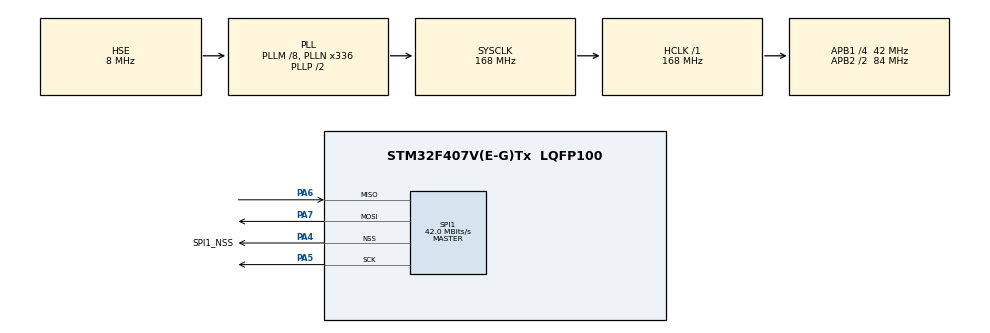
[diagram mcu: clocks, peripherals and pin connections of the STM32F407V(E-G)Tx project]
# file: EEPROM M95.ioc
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Mcu.Family=STM32F4
Mcu.Name=STM32F407V(E-G)Tx
Mcu.Package=LQFP100
NVIC.PriorityGroup=NVIC_PRIORITYGROUP_0
PA4.GPIO_Label=SPI1_NSS
PA4.Mode=NSS_Signal_Hard_Output
PA4.Signal=SPI1_NSS
PA5.Mode=Full_Duplex_Master
PA5.Signal=SPI1_SCK
PA6.Mode=Full_Duplex_Master
PA6.Signal=SPI1_MISO
PA7.Mode=Full_Duplex_Master
PA7.Signal=SPI1_MOSI
PH0-OSC_IN.Mode=HSE-External-Oscillator
PH0-OSC_IN.Signal=RCC_OSC_IN
PH1-OSC_OUT.Mode=HSE-External-Oscillator
PH1-OSC_OUT.Signal=RCC_OSC_OUT
ProjectManager.HeapSize=0x200
ProjectManager.StackSize=0x400
ProjectManager.TargetToolchain=STM32CubeIDE
RCC.48MHZClocksFreq_Value=48000000
RCC.AHBFreq_Value=168000000
RCC.APB1CLKDivider=RCC_HCLK_DIV4
RCC.APB1Freq_Value=42000000
RCC.APB1TimFreq_Value=84000000
RCC.APB2CLKDivider=RCC_HCLK_DIV2
RCC.APB2Freq_Value=84000000
RCC.APB2TimFreq_Value=168000000
RCC.CortexFreq_Value=168000000
RCC.HCLKFreq_Value=168000000
RCC.HSE_VALUE=8000000
RCC.HSI_VALUE=16000000
RCC.PLLM=8
RCC.PLLN=336
RCC.PLLQ=7
RCC.PLLSourceVirtual=RCC_PLLSOURCE_HSE
RCC.SYSCLKFreq_VALUE=168000000
RCC.SYSCLKSource=RCC_SYSCLKSOURCE_PLLCLK
RCC.VCOOutputFreq_Value=336000000
SPI1.CalculateBaudRate=42.0 MBits/s
SPI1.Direction=SPI_DIRECTION_2LINES
SPI1.Mode=SPI_MODE_MASTER
SPI1.VirtualNSS=VM_NSSHARD
SPI1.VirtualType=VM_MASTER
board=STM32F407G-DISC1

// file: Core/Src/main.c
/* USER CODE BEGIN Header */
/**
  ******************************************************************************
  * @file           : main.c
  * @brief          : Main program body
  ******************************************************************************
  * @attention
  *
  * Copyright (c) 2024 STMicroelectronics.
  * All rights reserved.
  *
  * This software is licensed under terms that can be found in the LICENSE file
  * in the root directory of this software component.
  * If no LICENSE file comes with this software, it is provided AS-IS.
  *
  ******************************************************************************
  */
/* USER CODE END Header */
#include "main.h"

SPI_HandleTypeDef hspi1;

/* USER CODE BEGIN PV */

#define EEPROM_READ_CMD 	0x03		//Data read command
#define EEPROM_WRITE_CMD 	0x02		//Data Write command
#define EEPROM_WRITE_EN_CMD 0x06		//Write enable command

/* USER CODE END PV */

void SystemClock_Config(void);
static void MX_GPIO_Init(void);
static void MX_SPI1_Init(void);
/* USER CODE BEGIN PFP */
/************************************************************************************
 * Error Handler
 */

void errorHandler(void)
{
	while(1)
	{
		//Read or Write Error
		ITM_SendChar("Read or Write Error");
	}
}

/************************************************************************************
 *	The Function below writes the data at required address byte wise
 */
void EEPROM_WriteByte(uint32_t addr, uint8_t data) {

  //Error checking for valid address range
  if((addr > 0x3FFFF) || (addr < 0x0000))
  {
	  while(1)
	  {
		  // Address Out of bounds
		  ITM_SendChar("Address Out of bounds");
	  }
  }

  //Transmit Write Enable command first to enable the write operation
  if(HAL_SPI_Transmit(&hspi1, EEPROM_WRITE_EN_CMD, 1, HAL_MAX_DELAY) != HAL_OK)
	  {
	  	  error_Handler();
	  }

  //4 Byte array to accomodate command and data bytes
  uint8_t txData[5];

  //Send Write Command
  txData[0] = EEPROM_WRITE_CMD;

  //Split the 24 bit address into 3 bytes, according to Big endian format of EEPROM
  txData[1] = (uint8_t)((addr >> 16 ) & 0x000000FF); // High byte
  txData[2] = (uint8_t)((addr >> 8)& 0x000000FF ); 	 // Middle byte
  txData[3] = (uint8_t)(addr & 0x000000FF );         // Low byte

  // Send data byte after address
  txData[4] = data;

  //Delay, as page write max limit ---> 10ms, and to avoid any errors
  HAL_Delay(10);

  //Transmit the Data
  if (HAL_SPI_Transmit(&hspi1, txData, 5, HAL_MAX_DELAY) != HAL_OK)
  {
	  errorHandler();
  }

}

/**************************************************************************************
 *	The Function below reads the data at required address byte wise
 */
uint8_t EEPROM_ReadByte(uint32_t addr) {

	//Error checking for valid address range
	if((addr > 0x3FFFF) || (addr < 0x0000))
	{
		  while(1)
		  {
			  // Address Out of bounds
			  ITM_SendChar("Address Out of bounds");
		  }
	}

  //Buffer to store command and 24 bit address
  uint8_t txData[4];

  //Variable to store data byte to be read
  uint8_t rxData;

  txData[0] = EEPROM_READ_CMD;

  txData[1] = (uint8_t)((addr >> 16 ) & 0x000000FF); // High byte
  txData[2] = (uint8_t)((addr >> 8)& 0x000000FF ); 	 // Middle byte
  txData[3] = (uint8_t)(addr & 0x000000FF );         // Low byte

  if(HAL_SPI_Transmit(&hspi1, txData, 4, HAL_MAX_DELAY) != HAL_OK)
  {
	  errorHandler();
  }

  if(HAL_SPI_Receive(&hspi1, &rxData, 1, HAL_MAX_DELAY) != HAL_OK)
  {
	  errorHandler();
  }

  HAL_Delay(10);
  return rxData;
}

/* USER CODE END PFP */

int main(void)
{

  /* MCU Configuration--------------------------------------------------------*/

  /* Reset of all peripherals, Initializes the Flash interface and the Systick. */
  HAL_Init();

  /* Configure the system clock */
  SystemClock_Config();

  /* Initialize all configured peripherals */
  MX_GPIO_Init();
  MX_SPI1_Init();
  /* USER CODE BEGIN 2 */

  EEPROM_WriteByte(0x0000, 30);
  uint8_t dataReadfromEEPROM = EEPROM_ReadByte(0x0000);
  /* USER CODE END 2 */

  /* Infinite loop */
  while (1)
  {

  }
}

void SystemClock_Config(void)
{
  RCC_OscInitTypeDef RCC_OscInitStruct = {0};
  RCC_ClkInitTypeDef RCC_ClkInitStruct = {0};

  /** Configure the main internal regulator output voltage
  */
  __HAL_RCC_PWR_CLK_ENABLE();
  __HAL_PWR_VOLTAGESCALING_CONFIG(PWR_REGULATOR_VOLTAGE_SCALE1);

  /** Initializes the RCC Oscillators according to the specified parameters
  * in the RCC_OscInitTypeDef structure.
  */
  RCC_OscInitStruct.OscillatorType = RCC_OSCILLATORTYPE_HSE;
  RCC_OscInitStruct.HSEState = RCC_HSE_ON;
  RCC_OscInitStruct.PLL.PLLState = RCC_PLL_ON;
  RCC_OscInitStruct.PLL.PLLSource = RCC_PLLSOURCE_HSE;
  RCC_OscInitStruct.PLL.PLLM = 8;
  RCC_OscInitStruct.PLL.PLLN = 336;
  RCC_OscInitStruct.PLL.PLLP = RCC_PLLP_DIV2;
  RCC_OscInitStruct.PLL.PLLQ = 7;
  if (HAL_RCC_OscConfig(&RCC_OscInitStruct) != HAL_OK)
  {
    Error_Handler();
  }

  /** Initializes the CPU, AHB and APB buses clocks
  */
  RCC_ClkInitStruct.ClockType = RCC_CLOCKTYPE_HCLK|RCC_CLOCKTYPE_SYSCLK
                              |RCC_CLOCKTYPE_PCLK1|RCC_CLOCKTYPE_PCLK2;
  RCC_ClkInitStruct.SYSCLKSource = RCC_SYSCLKSOURCE_PLLCLK;
  RCC_ClkInitStruct.AHBCLKDivider = RCC_SYSCLK_DIV1;
  RCC_ClkInitStruct.APB1CLKDivider = RCC_HCLK_DIV4;
  RCC_ClkInitStruct.APB2CLKDivider = RCC_HCLK_DIV2;

  if (HAL_RCC_ClockConfig(&RCC_ClkInitStruct, FLASH_LATENCY_5) != HAL_OK)
  {
    Error_Handler();
  }
}

static void MX_SPI1_Init(void)
{

  /* SPI1 parameter configuration*/
  hspi1.Instance = SPI1;
  hspi1.Init.Mode = SPI_MODE_MASTER;
  hspi1.Init.Direction = SPI_DIRECTION_2LINES;
  hspi1.Init.DataSize = SPI_DATASIZE_8BIT;
  hspi1.Init.CLKPolarity = SPI_POLARITY_LOW;
  hspi1.Init.CLKPhase = SPI_PHASE_1EDGE;
  hspi1.Init.NSS = SPI_NSS_HARD_OUTPUT;
  hspi1.Init.BaudRatePrescaler = SPI_BAUDRATEPRESCALER_2;
  hspi1.Init.FirstBit = SPI_FIRSTBIT_MSB;
  hspi1.Init.TIMode = SPI_TIMODE_DISABLE;
  hspi1.Init.CRCCalculation = SPI_CRCCALCULATION_DISABLE;
  hspi1.Init.CRCPolynomial = 10;
  if (HAL_SPI_Init(&hspi1) != HAL_OK)
  {
    Error_Handler();
  }

}

static void MX_GPIO_Init(void)
{

  /* GPIO Ports Clock Enable */
  __HAL_RCC_GPIOH_CLK_ENABLE();
  __HAL_RCC_GPIOA_CLK_ENABLE();

}

void Error_Handler(void)
{
  __disable_irq();
  while (1)
  {
  }
}
